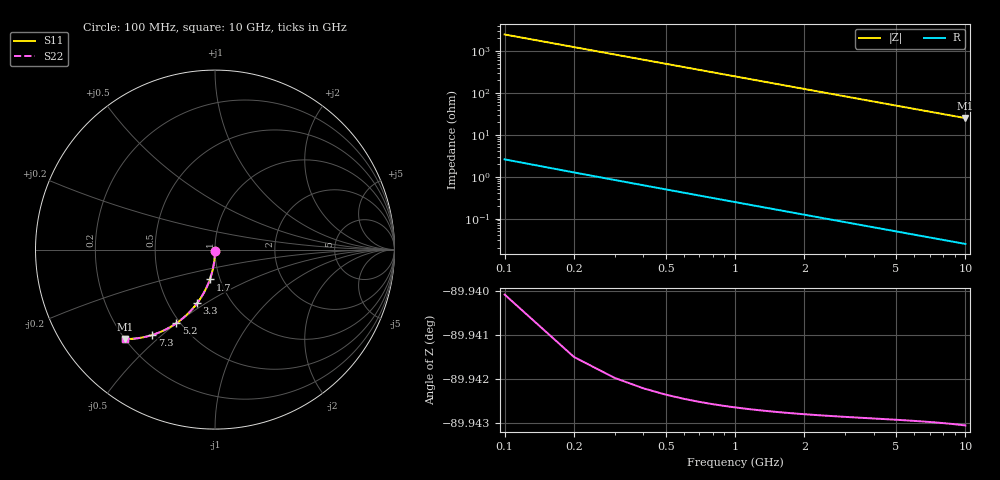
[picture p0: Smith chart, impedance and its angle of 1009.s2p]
# Hz S RI R 50.00
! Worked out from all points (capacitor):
!   100 points, 100 MHz to 10 GHz, reference 50 ohm
!   read as one part in shunt: C = 643 fF near 100 MHz
!   lowest |Z| = 25 ohm at 10 GHz (marker M1)
!   S11 on the Smith chart (normalised r, x): 100 MHz: 1.00, -0.02; 1.7 GHz: 0.89, -0.31; 3.3 GHz: 0.69, -0.46; 5.2 GHz: 0.48, -0.50; 7.3 GHz: 0.32, -0.46; 10 GHz: 0.20, -0.40
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1e8  -0.000108 -0.0101  0.9999 -0.0101  0.9999 -0.0101  -0.000108 -0.0101
2e8  -0.000424 -0.0202  0.9996 -0.0202  0.9996 -0.0202  -0.000424 -0.0202
3e8  -0.000944 -0.0303  0.999 -0.0303  0.999 -0.0303  -0.000944 -0.0303
4e8  -0.00167 -0.0403  0.9983 -0.0404  0.9983 -0.0404  -0.00167 -0.0403
5e8  -0.00259 -0.0503  0.9974 -0.0504  0.9974 -0.0504  -0.00259 -0.0503
6e8  -0.00372 -0.0603  0.9963 -0.0605  0.9963 -0.0605  -0.00372 -0.0603
8e8  -0.00657 -0.0802  0.9934 -0.0804  0.9934 -0.0804  -0.00657 -0.0802
1.1e9  -0.0123 -0.1096  0.9877 -0.1098  0.9877 -0.1098  -0.0123 -0.1096
1.4e9  -0.0197 -0.1384  0.9803 -0.1387  0.9803 -0.1387  -0.0197 -0.1384
1.7e9  -0.0288 -0.1665  0.9712 -0.1668  0.9712 -0.1668  -0.0288 -0.1665
1.8e9  -0.0321 -0.1757  0.9679 -0.176  0.9679 -0.176  -0.0321 -0.1757
2.1e9  -0.0432 -0.2025  0.9568 -0.203  0.9568 -0.203  -0.0432 -0.2025
2.5e9  -0.06 -0.2368  0.94 -0.2373  0.94 -0.2373  -0.06 -0.2368
3.3e9  -0.0999 -0.299  0.9001 -0.2997  0.9001 -0.2997  -0.0999 -0.299
3.4e9  -0.1053 -0.3061  0.8947 -0.3068  0.8947 -0.3068  -0.1053 -0.3061
4.2e9  -0.152 -0.3581  0.848 -0.3589  0.848 -0.3589  -0.152 -0.3581
5.1e9  -0.2086 -0.4053  0.7914 -0.4063  0.7914 -0.4063  -0.2086 -0.4053
5.2e9  -0.2151 -0.4098  0.7849 -0.4109  0.7849 -0.4109  -0.2151 -0.4098
6.7e9  -0.3118 -0.462  0.6882 -0.4634  0.6882 -0.4634  -0.3118 -0.462
7.3e9  -0.3494 -0.4755  0.6506 -0.4771  0.6506 -0.4771  -0.3494 -0.4755
8.4e9  -0.415 -0.4913  0.585 -0.4931  0.585 -0.4931  -0.415 -0.4913
1e10  -0.5005 -0.4984  0.4994 -0.5006  0.4994 -0.5006  -0.5005 -0.4984
